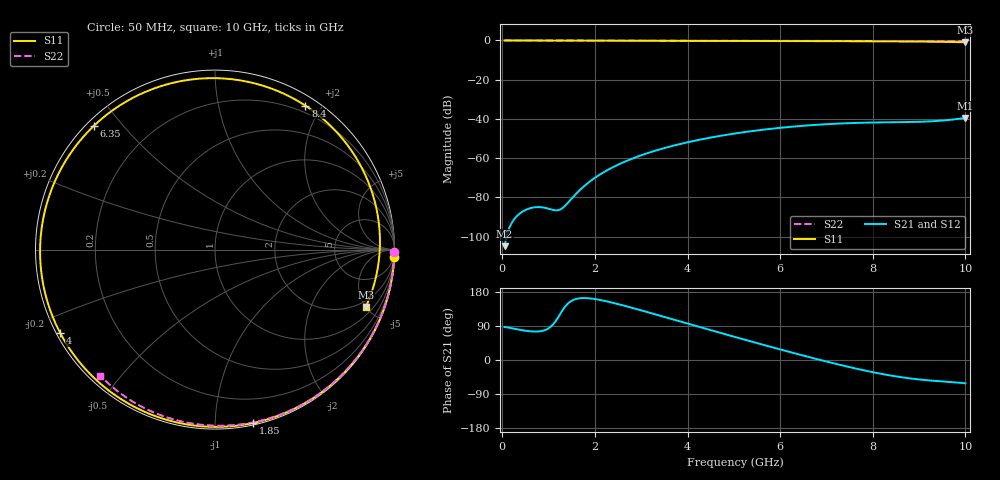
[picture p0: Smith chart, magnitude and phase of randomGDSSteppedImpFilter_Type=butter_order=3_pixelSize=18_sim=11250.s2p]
! freq	dB(S11)	phase(S11)	dB(S12)	phase(S12)
!  dB(S21)	phase(S21)	dB(S22)	phase(S22)
!S-par simulation data
#  GHz  S  DB  R 50
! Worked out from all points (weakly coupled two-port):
!   200 points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, 50 MHz to 10 GHz, reference 50 ohm
!   highest |S21| = -39.48 dB at 10 GHz (marker M1); lowest = -104.9 dB at 50 MHz (marker M2)
!   lowest |S11| = -0.9 dB at 10 GHz (marker M3), VSWR 18.75, Z = 75.4 - j250 ohm
!   |S11| at or under -10 dB: nowhere
!   |S22| runs from -0.4 to 0.0 dB; largest |S21 - S12| = 0
!   S11 on the Smith chart (normalised r, x): 50 MHz: 1, -51; 1.85 GHz: 0.01, -1.24; 4 GHz: 0.01, -0.25; 6.35 GHz: 0.02, +0.42; 8.4 GHz: 0.12, +1.80; 10 GHz: 1.51, -5.01
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0.05  -0.01 -2.2  -104.90 86.9  -104.90 86.9  -0.00 -0.8
0.7  -0.04 -30.7  -85.08 75.1  -85.08 75.1  -0.01 -10.6
1.1  -0.06 -47.6  -86.45 94.3  -86.45 94.3  -0.02 -16.7
1.5  -0.08 -63.9  -80.57 156.4  -80.57 156.4  -0.03 -22.6
1.75  -0.09 -73.8  -74.63 163.5  -74.63 163.5  -0.03 -26.3
1.85  -0.09 -77.6  -72.66 163.1  -72.66 163.1  -0.04 -27.8
2.5  -0.12 -101.7  -63.35 147.5  -63.35 147.5  -0.05 -37.3
3.4  -0.15 -132.4  -55.54 117.1  -55.54 117.1  -0.07 -50.2
4  -0.18 -151.6  -51.92 96.2  -51.92 96.2  -0.08 -58.5
4.55  -0.21 -168.7  -49.30 77.1  -49.30 77.1  -0.10 -65.9
5.05  -0.23 175.8  -47.35 59.9  -47.35 59.9  -0.11 -72.6
5.7  -0.27 155.5  -45.32 37.9  -45.32 37.9  -0.13 -81.0
6.35  -0.31 134.4  -43.78 16.5  -43.78 16.5  -0.16 -89.2
6.7  -0.33 122.6  -43.14 5.3  -43.14 5.3  -0.18 -93.6
7.55  -0.39 92.0  -42.11 -20.2  -42.11 -20.2  -0.23 -103.9
7.95  -0.43 76.4  -41.86 -30.9  -41.86 -30.9  -0.26 -108.6
8.35  -0.47 60.0  -41.72 -40.2  -41.72 -40.2  -0.29 -113.3
8.4  -0.47 57.8  -41.71 -41.3  -41.71 -41.3  -0.29 -113.9
8.85  -0.54 38.0  -41.56 -49.3  -41.56 -49.3  -0.33 -119.1
9.3  -0.64 16.6  -41.18 -54.7  -41.18 -54.7  -0.37 -124.3
9.65  -0.75 -1.4  -40.53 -57.9  -40.53 -57.9  -0.41 -128.3
10  -0.93 -20.8  -39.48 -61.6  -39.48 -61.6  -0.45 -132.3
